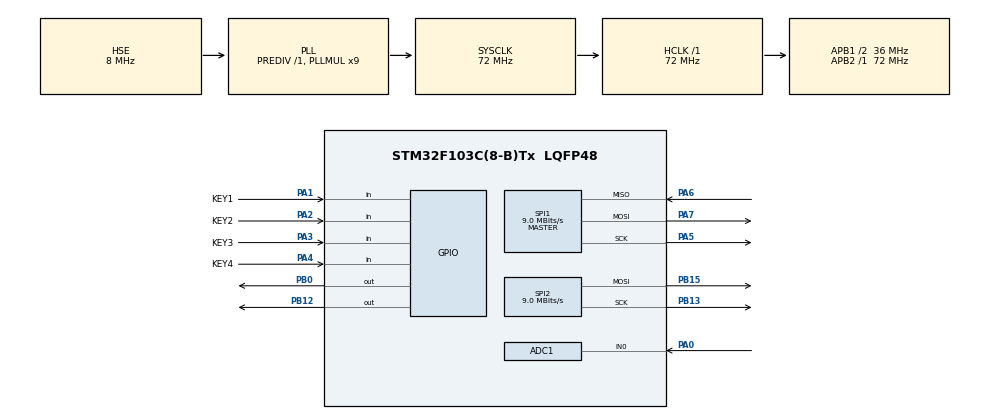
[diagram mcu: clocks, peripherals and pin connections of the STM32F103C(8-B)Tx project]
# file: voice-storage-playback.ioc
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ADC1.Channel-1\#ChannelRegularConversion=ADC_CHANNEL_0
ADC1.ExternalTrigConv=ADC_EXTERNALTRIGCONV_T3_TRGO
ADC1.NbrOfConversionFlag=1
ADC1.Rank-1\#ChannelRegularConversion=1
ADC1.SamplingTime-1\#ChannelRegularConversion=ADC_SAMPLETIME_55CYCLES_5
ADC1.master=1
Dma.ADC1.0.Direction=DMA_PERIPH_TO_MEMORY
Dma.ADC1.0.Instance=DMA1_Channel1
Dma.ADC1.0.MemDataAlignment=DMA_MDATAALIGN_HALFWORD
Dma.ADC1.0.MemInc=DMA_MINC_ENABLE
Dma.ADC1.0.Mode=DMA_CIRCULAR
Dma.ADC1.0.PeriphDataAlignment=DMA_PDATAALIGN_HALFWORD
Dma.ADC1.0.PeriphInc=DMA_PINC_DISABLE
Dma.ADC1.0.Priority=DMA_PRIORITY_HIGH
Dma.Request0=ADC1
Mcu.Family=STM32F1
Mcu.Name=STM32F103C(8-B)Tx
Mcu.Package=LQFP48
NVIC.DMA1_Channel1_IRQn=true\:0\:0\:false\:false\:true\:false\:true\:true
NVIC.PriorityGroup=NVIC_PRIORITYGROUP_4
NVIC.TIM2_IRQn=true\:1\:0\:true\:false\:true\:true\:true\:true
PA0-WKUP.Signal=ADCx_IN0
PA1.GPIO_Label=KEY1
PA1.GPIO_PuPd=GPIO_PULLUP
PA1.Signal=GPIO_Input
PA13.Mode=Serial_Wire
PA13.Signal=SYS_JTMS-SWDIO
PA14.Mode=Serial_Wire
PA14.Signal=SYS_JTCK-SWCLK
PA2.GPIO_Label=KEY2
PA2.GPIO_PuPd=GPIO_PULLUP
PA2.Signal=GPIO_Input
PA3.GPIO_Label=KEY3
PA3.GPIO_PuPd=GPIO_PULLUP
PA3.Signal=GPIO_Input
PA4.GPIO_Label=KEY4
PA4.GPIO_PuPd=GPIO_PULLUP
PA4.Signal=GPIO_Input
PA5.Mode=Full_Duplex_Master
PA5.Signal=SPI1_SCK
PA6.Mode=Full_Duplex_Master
PA6.Signal=SPI1_MISO
PA7.Mode=Full_Duplex_Master
PA7.Signal=SPI1_MOSI
PB0.GPIO_Speed=GPIO_SPEED_FREQ_HIGH
PB0.PinState=GPIO_PIN_SET
PB0.Signal=GPIO_Output
PB12.GPIO_Speed=GPIO_SPEED_FREQ_HIGH
PB12.PinState=GPIO_PIN_SET
PB12.Signal=GPIO_Output
PB13.Mode=TX_Only_Simplex_Unidirect_Master
PB13.Signal=SPI2_SCK
PB15.Mode=TX_Only_Simplex_Unidirect_Master
PB15.Signal=SPI2_MOSI
PD0-OSC_IN.Mode=HSE-External-Oscillator
PD0-OSC_IN.Signal=RCC_OSC_IN
PD1-OSC_OUT.Mode=HSE-External-Oscillator
PD1-OSC_OUT.Signal=RCC_OSC_OUT
ProjectManager.HeapSize=0x200
ProjectManager.StackSize=0x400
ProjectManager.TargetToolchain=MDK-ARM V5.32
RCC.ADCPresc=RCC_ADCPCLK2_DIV6
RCC.AHBFreq_Value=72000000
RCC.APB1CLKDivider=RCC_HCLK_DIV2
RCC.APB1Freq_Value=36000000
RCC.APB1TimFreq_Value=72000000
RCC.APB2Freq_Value=72000000
RCC.APB2TimFreq_Value=72000000
RCC.HCLKFreq_Value=72000000
RCC.PLLMUL=RCC_PLL_MUL9
RCC.PLLSourceVirtual=RCC_PLLSOURCE_HSE
RCC.SYSCLKFreq_VALUE=72000000
RCC.SYSCLKSource=RCC_SYSCLKSOURCE_PLLCLK
RCC.USBFreq_Value=72000000
SH.ADCx_IN0.0=ADC1_IN0,IN0
SPI1.BaudRatePrescaler=SPI_BAUDRATEPRESCALER_8
SPI1.CalculateBaudRate=9.0 MBits/s
SPI1.Direction=SPI_DIRECTION_2LINES
SPI1.CLKPolarity=SPI_POLARITY_HIGH
SPI1.CLKPhase=SPI_PHASE_2EDGE
SPI1.Mode=SPI_MODE_MASTER
SPI1.VirtualType=VM_MASTER
SPI2.BaudRatePrescaler=SPI_BAUDRATEPRESCALER_4
SPI2.CalculateBaudRate=9.0 MBits/s
SPI2.DataSize=SPI_DATASIZE_16BIT
SPI2.Direction=SPI_DIRECTION_2LINES
SPI2.Mode=SPI_MODE_MASTER
SPI2.VirtualType=VM_MASTER
TIM2.Period=8999
TIM3.Period=2249
TIM3.TIM_MasterOutputTrigger=TIM_TRGO_UPDATE
VP_TIM2_VS_ClockSourceINT.Mode=Internal
VP_TIM3_VS_ClockSourceINT.Mode=Internal
board=custom

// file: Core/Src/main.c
/* USER CODE BEGIN Header */
/**
  ******************************************************************************
  * @file           : main.c
  * @brief          : Main program body
  ******************************************************************************
  * @attention
  *
  * Copyright (c) 2026 STMicroelectronics.
  * All rights reserved.
  *
  * This software is licensed under terms that can be found in the LICENSE file
  * in the root directory of this software component.
  * If no LICENSE file comes with this software, it is provided AS-IS.
  *
  ******************************************************************************
  */
/* USER CODE END Header */
#include "main.h"
#include "adc.h"
#include "dma.h"
#include "spi.h"
#include "tim.h"
#include "gpio.h"

/* USER CODE BEGIN Includes */
#include "key.h"
#include "led.h"
#include "mcp4821.h"
#include "play.h"
#include "record.h"
#include "w25q64.h"
/* USER CODE END Includes */

/* USER CODE BEGIN PV */
static SystemState system_state = ST_IDLE;
/* USER CODE END PV */

void SystemClock_Config(void);
/* USER CODE BEGIN PFP */
static void System_HandleKey(KeyTypeDef key);
static void System_StopRecording(uint8_t failed);
static HAL_StatusTypeDef System_StopPlayback(uint8_t failed);
static void System_StartPlayback(void);
/* USER CODE END PFP */

/* USER CODE BEGIN 0 */
/* 错误码指示: LED 连闪 code 次 -> 停顿 -> 重复 (区别于 Error_Handler 的连续快闪) */
static void FatalBlink(uint32_t code)
{
  volatile uint32_t i;
  uint32_t n;

  __disable_irq();
  __HAL_RCC_GPIOC_CLK_ENABLE();
  /* PC13 推挽输出 */
  GPIOC->CRH &= ~((uint32_t)0xFU << 24);
  GPIOC->CRH |= ((uint32_t)0x1U << 24);
  while (1)
  {
    for (n = 0U; n < code; n++)
    {
      GPIOC->BSRR = (uint32_t)GPIO_PIN_13 << 16;  /* 亮(低电平点亮) */
      for (i = 0U; i < 600000U; ++i) { }
      GPIOC->BSRR = GPIO_PIN_13;                  /* 灭 */
      for (i = 0U; i < 600000U; ++i) { }
    }
    for (i = 0U; i < 4000000U; ++i) { }           /* 组间停顿(约0.5s) */
  }
}
/* USER CODE END 0 */

int main(void)
{

  /* MCU Configuration--------------------------------------------------------*/

  /* Reset of all peripherals, Initializes the Flash interface and the Systick. */
  HAL_Init();

  /* Configure the system clock */
  SystemClock_Config();

  /* Initialize all configured peripherals */
  MX_GPIO_Init();
  MX_DMA_Init();
  MX_ADC1_Init();
  MX_SPI1_Init();
  MX_SPI2_Init();
  MX_TIM2_Init();
  MX_TIM3_Init();
  /* USER CODE BEGIN 2 */
  LED_Init();
  KEY_Init();
  if (MCP4821_Init() != HAL_OK)
  {
    FatalBlink(1U);   /* MCP4821 初始化失败 */
  }
  if (W25Q64_Init() != HAL_OK)
  {
    if (W25Q64_DebugID == 0xFFFFFFUL)          /* MISO 无响应(悬空/芯片没工作) */
    {
      FatalBlink(2U);
    }
    else if (W25Q64_DebugID == 0x00000000UL)   /* MISO 恒低 */
    {
      FatalBlink(3U);
    }
    else                                       /* 芯片有应答, 但 ID 非 W25Q 系列 */
    {
      FatalBlink(4U);
    }
  }
  if (Record_Init() != HAL_OK)
  {
    FatalBlink(5U);   /* 录音子系统初始化失败 */
  }
  if (Play_Init() != HAL_OK)
  {
    FatalBlink(6U);   /* 播放子系统初始化失败 */
  }
  /* USER CODE END 2 */

  /* Infinite loop */
  /* USER CODE BEGIN WHILE */
  while (1)
  {
    System_HandleKey(KEY_Scan());

    if ((system_state == ST_RECORD) || (system_state == ST_REC_PAUSE))
    {
      if ((Record_Process() != HAL_OK) || (Record_HasError() != 0U))
      {
        System_StopRecording(1U);
      }
      else if (Record_IsFull() != 0U)
      {
        System_StopRecording(0U);
      }
    }

    if ((system_state == ST_PLAY) || (system_state == ST_PLAY_PAUSE))
    {
      if (Play_Process() != HAL_OK)
      {
        System_StopPlayback(1U);
      }
      else if (Play_IsFinished() != 0U)
      {
        System_StopPlayback(0U);
      }
    }

    LED_Control(system_state);
    /* USER CODE END WHILE */

  }
}

void SystemClock_Config(void)
{
  RCC_OscInitTypeDef RCC_OscInitStruct = {0};
  RCC_ClkInitTypeDef RCC_ClkInitStruct = {0};
  RCC_PeriphCLKInitTypeDef PeriphClkInit = {0};

  /** Initializes the RCC Oscillators according to the specified parameters
  * in the RCC_OscInitTypeDef structure.
  */
  RCC_OscInitStruct.OscillatorType = RCC_OSCILLATORTYPE_HSE;
  RCC_OscInitStruct.HSEState = RCC_HSE_ON;
  RCC_OscInitStruct.HSEPredivValue = RCC_HSE_PREDIV_DIV1;
  RCC_OscInitStruct.HSIState = RCC_HSI_ON;
  RCC_OscInitStruct.PLL.PLLState = RCC_PLL_ON;
  RCC_OscInitStruct.PLL.PLLSource = RCC_PLLSOURCE_HSE;
  RCC_OscInitStruct.PLL.PLLMUL = RCC_PLL_MUL9;
  if (HAL_RCC_OscConfig(&RCC_OscInitStruct) != HAL_OK)
  {
    Error_Handler();
  }

  /** Initializes the CPU, AHB and APB buses clocks
  */
  RCC_ClkInitStruct.ClockType = RCC_CLOCKTYPE_HCLK|RCC_CLOCKTYPE_SYSCLK
                              |RCC_CLOCKTYPE_PCLK1|RCC_CLOCKTYPE_PCLK2;
  RCC_ClkInitStruct.SYSCLKSource = RCC_SYSCLKSOURCE_PLLCLK;
  RCC_ClkInitStruct.AHBCLKDivider = RCC_SYSCLK_DIV1;
  RCC_ClkInitStruct.APB1CLKDivider = RCC_HCLK_DIV2;
  RCC_ClkInitStruct.APB2CLKDivider = RCC_HCLK_DIV1;

  if (HAL_RCC_ClockConfig(&RCC_ClkInitStruct, FLASH_LATENCY_2) != HAL_OK)
  {
    Error_Handler();
  }
  PeriphClkInit.PeriphClockSelection = RCC_PERIPHCLK_ADC;
  PeriphClkInit.AdcClockSelection = RCC_ADCPCLK2_DIV6;
  if (HAL_RCCEx_PeriphCLKConfig(&PeriphClkInit) != HAL_OK)
  {
    Error_Handler();
  }
}

/* USER CODE BEGIN 4 */
static void System_StopRecording(uint8_t failed)
{
  HAL_StatusTypeDef status = Record_Stop();

  system_state = ((status != HAL_OK) || (failed != 0U)) ? ST_ERROR : ST_IDLE;
}

static HAL_StatusTypeDef System_StopPlayback(uint8_t failed)
{
  HAL_StatusTypeDef status = Play_Stop();

  system_state = ((status != HAL_OK) || (failed != 0U)) ? ST_ERROR : ST_IDLE;
  return status;
}

static void System_StartPlayback(void)
{
  if (Record_GetLength() != 0U)
  {
    system_state = (Play_Start() == HAL_OK) ? ST_PLAY : ST_ERROR;
  }
}

static void System_HandleKey(KeyTypeDef key)
{
  if (key == KEY_NONE)
  {
    return;
  }

  switch (key)
  {
    case KEY1_PRESSED:
      if ((system_state == ST_IDLE) || (system_state == ST_ERROR))
      {
        system_state = (Record_Start() == HAL_OK) ? ST_RECORD : ST_ERROR;
      }
      else if ((system_state == ST_RECORD) || (system_state == ST_REC_PAUSE))
      {
        System_StopRecording(0U);
      }
      break;

    case KEY2_PRESSED:
      if ((system_state == ST_RECORD) && (Record_Pause() == HAL_OK))
      {
        system_state = ST_REC_PAUSE;
      }
      else if ((system_state == ST_REC_PAUSE) && (Record_Resume() == HAL_OK))
      {
        system_state = ST_RECORD;
      }
      else if ((system_state == ST_PLAY) && (Play_Pause() == HAL_OK))
      {
        system_state = ST_PLAY_PAUSE;
      }
      else if ((system_state == ST_PLAY_PAUSE) && (Play_Resume() == HAL_OK))
      {
        system_state = ST_PLAY;
      }
      break;

    case KEY3_PRESSED:
      if ((system_state == ST_PLAY) || (system_state == ST_PLAY_PAUSE))
      {
        System_StopPlayback(0U);
      }
      else if ((system_state == ST_IDLE) || (system_state == ST_ERROR))
      {
        System_StartPlayback();
      }
      break;

    case KEY4_PRESSED:
      if ((system_state == ST_PLAY) || (system_state == ST_PLAY_PAUSE))
      {
        if (System_StopPlayback(0U) == HAL_OK)
        {
          System_StartPlayback();
        }
      }
      else if ((system_state == ST_IDLE) || (system_state == ST_ERROR))
      {
        System_StartPlayback();
      }
      break;

    default:
      break;
  }
}
/* USER CODE END 4 */

void Error_Handler(void)
{
  /* USER CODE BEGIN Error_Handler_Debug */
  /* 致命错误指示: 直接驱动 PC13 LED 快闪(不依赖中断/时钟初始化是否完成) */
  __disable_irq();
  __HAL_RCC_GPIOC_CLK_ENABLE();
  /* PC13 配置为推挽输出: 清 CNF13/MODE13 后置 MODE13=01 */
  GPIOC->CRH &= ~((uint32_t)0xFU << 24);
  GPIOC->CRH |= ((uint32_t)0x1U << 24);
  while (1)
  {
    volatile uint32_t i;
    GPIOC->BSRR = GPIO_PIN_13;                  /* 灭 */
    for (i = 0U; i < 300000U; ++i) { }
    GPIOC->BSRR = (uint32_t)GPIO_PIN_13 << 16;  /* 亮(低电平点亮) */
    for (i = 0U; i < 300000U; ++i) { }
  }
  /* USER CODE END Error_Handler_Debug */
}
